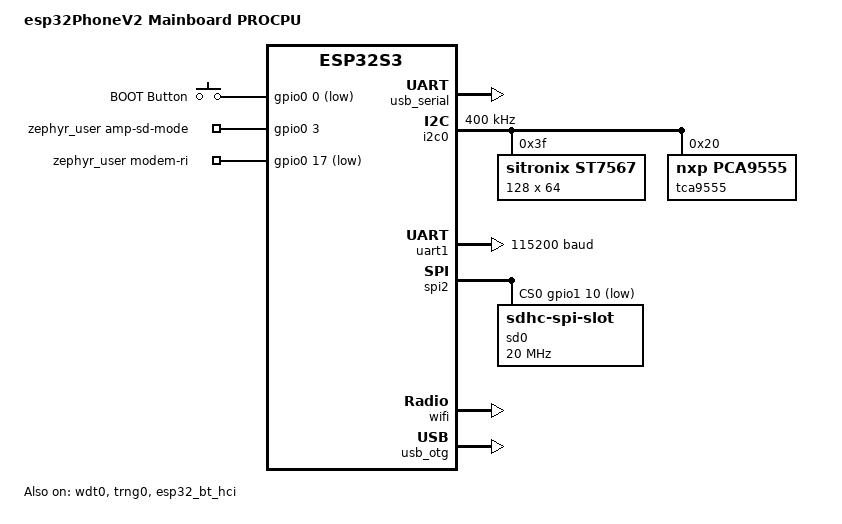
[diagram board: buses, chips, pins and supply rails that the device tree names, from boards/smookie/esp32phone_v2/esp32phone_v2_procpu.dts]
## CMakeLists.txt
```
cmake_minimum_required(VERSION 3.20.0)

# The custom board lives in this repo: app/boards/smookie/esp32phone_v2
set(BOARD_ROOT ${CMAKE_CURRENT_SOURCE_DIR})

find_package(Zephyr REQUIRED HINTS $ENV{ZEPHYR_BASE})
project(esp32phone_v2_fw LANGUAGES C)

target_include_directories(app PRIVATE include)
target_sources(app PRIVATE
  src/main.c
  src/core/channels.c
  src/core/registry.c
  src/core/framework.c
  src/services/input_svc.c
  src/ui/status_bar.c
  src/ui/softkey_bar.c
  src/ui/widgets.c
  src/apps/home.c
  src/apps/settings.c
)

zephyr_linker_sources(SECTIONS sections-rom.ld)
```

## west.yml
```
manifest:
  remotes:
    - name: zephyrproject-rtos
      url-base: https://github.com/zephyrproject-rtos

  projects:
    - name: zephyr
      remote: zephyrproject-rtos
      revision: v4.4.1
      import:
        # Keep the workspace lean: only the modules this project needs.
        # Extend the allowlist (and `west update`) when a milestone needs more
        # (e.g. mbedtls for TLS, mcuboot for OTA).
        name-allowlist:
          - hal_espressif
          - lvgl
          - littlefs
          - fatfs

  self:
    path: app
```

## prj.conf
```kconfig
# --- M1: UI frame — input service, zbus, screen stack, home + settings ---

CONFIG_LOG=y
CONFIG_LOG_MODE_DEFERRED=y

# Shell over the USB-Serial-JTAG console (UART0 pins are taken by SD-SPI)
CONFIG_SHELL=y
CONFIG_SHELL_BACKEND_SERIAL=y

CONFIG_GPIO=y
CONFIG_I2C=y
CONFIG_I2C_SHELL=y

# Cross-module IPC
CONFIG_ZBUS=y

# Display + LVGL (ST7567 over I2C, 1-bit)
CONFIG_DISPLAY=y
CONFIG_LVGL=y
CONFIG_LV_COLOR_DEPTH_1=y
CONFIG_LV_Z_MEM_POOL_SIZE=16384
CONFIG_LV_USE_THEME_MONO=y
CONFIG_LV_FONT_UNSCII_8=y
CONFIG_LV_FONT_DEFAULT_UNSCII_8=y

CONFIG_MAIN_STACK_SIZE=8192
CONFIG_THREAD_NAME=y
```

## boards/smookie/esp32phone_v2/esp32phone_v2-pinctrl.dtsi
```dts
/*
 * esp32PhoneV2 Mainboard (PCB4) pin assignments.
 * Verified against HARDWARE/pcb/Mainboard_schematics.pdf (2026-01-02).
 */

#include <zephyr/dt-bindings/pinctrl/esp-pinctrl-common.h>
#include <zephyr/dt-bindings/pinctrl/esp32s3-pinctrl.h>
#include <zephyr/dt-bindings/pinctrl/esp32s3-gpio-sigmap.h>

&pinctrl {
	/* Shared bus: ST7567 LCD + TCA9555 keypad expander (EXT_PIN1/2 jumpers) */
	i2c0_default: i2c0_default {
		group1 {
			pinmux = <I2C0_SDA_GPIO9>,
				 <I2C0_SCL_GPIO10>;
			bias-pull-up;
			drive-open-drain;
			output-high;
		};
	};

	/* A7680C modem behind TXS0108E level shifter */
	uart1_default: uart1_default {
		group1 {
			pinmux = <UART1_TX_GPIO15>;
			output-high;
		};

		group2 {
			pinmux = <UART1_RX_GPIO16>;
			bias-pull-up;
		};
	};

	/*
	 * One full-duplex bus: MAX98357A (out) and PCM1809 (in) share
	 * BCLK/LRCLK. No MCLK line on this board.
	 */
	i2s0_default: i2s0_default {
		group1 {
			pinmux = <I2S0_O_WS_GPIO4>,
				 <I2S0_O_BCK_GPIO5>,
				 <I2S0_O_SD_GPIO6>,
				 <I2S0_I_SD_GPIO7>;
		};
	};

	/* micro-SD slot (TF1), SPI mode. Note: MOSI/MISO sit on the UART0
	 * pins (GPIO43/44), which is why the console is USB-Serial-JTAG. */
	spim2_default: spim2_default {
		group1 {
			pinmux = <SPIM2_MISO_GPIO44>,
				 <SPIM2_SCLK_GPIO2>;
		};

		group2 {
			pinmux = <SPIM2_MOSI_GPIO43>;
			output-low;
		};
	};
};
```

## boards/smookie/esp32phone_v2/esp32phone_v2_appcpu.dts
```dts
/*
 * esp32PhoneV2 Mainboard (PCB4) — APPCPU
 */
/dts-v1/;

#include <espressif/esp32s3/esp32s3_wroom_n16r8.dtsi>
#include <espressif/partitions_0x0_amp_16M.dtsi>
#include "esp32phone_v2-pinctrl.dtsi"

/ {
	model = "esp32PhoneV2 Mainboard APPCPU";
	compatible = "espressif,esp32s3";

	chosen {
		zephyr,sram = &sram1;
		zephyr,ipc_shm = &shm0;
		zephyr,ipc = &ipm0;
		zephyr,flash = &flash0;
		zephyr,code-partition = &slot0_appcpu_partition;
	};
};

&trng0 {
	status = "okay";
};

&ipm0 {
	status = "okay";
};
```

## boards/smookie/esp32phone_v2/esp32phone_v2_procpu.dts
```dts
/*
 * esp32PhoneV2 Mainboard (PCB4) — PROCPU
 *
 * GPIO map (from Mainboard_schematics.pdf):
 *   IO0  BOOT button          IO15 modem TX
 *   IO2  SD SCK               IO16 modem RX
 *   IO3  amp SD_MODE          IO17 modem RI
 *   IO4  I2S LRC/FSYNC        IO18 modem PWRKEY
 *   IO5  I2S BCLK             IO19/20 USB D-/D+
 *   IO6  DAC DIN              IO42 SD CS
 *   IO7  ADC SDOUT            IO43 SD MOSI
 *   IO8  modem RST            IO44 SD MISO
 *   IO9/10 I2C SDA/SCL
 *   Spare (EXT header): IO1, IO11-14, IO21, IO38-41, IO47, IO48
 */
/dts-v1/;

#include <espressif/esp32s3/esp32s3_wroom_n16r8.dtsi>
#include <zephyr/dt-bindings/input/input-event-codes.h>
#include <espressif/partitions_0x0_amp_16M.dtsi>
#include "esp32phone_v2-pinctrl.dtsi"

/ {
	model = "esp32PhoneV2 Mainboard PROCPU";
	compatible = "espressif,esp32s3";

	aliases {
		i2c-0 = &i2c0;
		watchdog0 = &wdt0;
		sw0 = &button0;
		sdhc0 = &sd0;
	};

	chosen {
		zephyr,sram = &sram1;
		zephyr,console = &usb_serial;
		zephyr,shell-uart = &usb_serial;
		zephyr,flash = &flash0;
		zephyr,code-partition = &slot0_partition;
		zephyr,bt-hci = &esp32_bt_hci;
		zephyr,display = &st7567;
	};

	buttons {
		compatible = "gpio-keys";

		button0: button_0 {
			gpios = <&gpio0 0 (GPIO_PULL_UP | GPIO_ACTIVE_LOW)>;
			label = "BOOT Button";
			zephyr,code = <INPUT_KEY_0>;
		};
	};

	/* Board control lines owned by firmware services */
	zephyr_user: zephyr,user {
		amp-sd-mode-gpios = <&gpio0 3 GPIO_ACTIVE_HIGH>;  /* MAX98357A enable */
		modem-ri-gpios = <&gpio0 17 GPIO_ACTIVE_LOW>;     /* A7680C ring indicator */
	};
};

&usb_serial {
	status = "okay";
};

&gpio0 {
	status = "okay";
};

&gpio1 {
	status = "okay";
};

&i2c0 {
	status = "okay";
	clock-frequency = <I2C_BITRATE_FAST>;
	pinctrl-0 = <&i2c0_default>;
	pinctrl-names = "default";

	/*
	 * Matches the known-good U8g2 init (ENH_DG128064I + U8G2_R2):
	 * SEG normal + COM flipped = that panel's 180° orientation,
	 * offset 0, RR=3, 1/9 bias. Contrast (EV 50) is set at runtime —
	 * ST7567_DEFAULT_CONTRAST is capped at 15.
	 */
	st7567: st7567@3f {
		compatible = "sitronix,st7567";
		reg = <0x3f>;
		width = <128>;
		height = <64>;
		column-offset = <0>;
		line-offset = <0>;
		regulation-ratio = <3>;
		com-invdir;
	};

	tca9555: tca9555@20 {
		compatible = "nxp,pca9555";
		reg = <0x20>;
		gpio-controller;
		#gpio-cells = <2>;
		ngpios = <16>;
	};
};

/* A7680C LTE Cat-1 modem (keypad-side of TXS0108E level shifter) */
&uart1 {
	status = "okay";
	current-speed = <115200>;
	pinctrl-0 = <&uart1_default>;
	pinctrl-names = "default";

	modem: modem {
		compatible = "simcom,a76xx";
		mdm-power-gpios = <&gpio0 18 GPIO_ACTIVE_HIGH>;
		mdm-reset-gpios = <&gpio0 8 GPIO_ACTIVE_HIGH>;
		status = "disabled";	/* enabled in M2 (telephony) */
	};
};

/* Audio bus — enabled in M3 (media) */
&i2s0 {
	pinctrl-0 = <&i2s0_default>;
	pinctrl-names = "default";
};

/* micro-SD (TF1), SPI mode */
&spi2 {
	#address-cells = <1>;
	#size-cells = <0>;
	status = "okay";
	pinctrl-0 = <&spim2_default>;
	pinctrl-names = "default";
	/* GPIO CS, not hardware CSEL: SD init needs frames with CS deasserted */
	cs-gpios = <&gpio1 10 GPIO_ACTIVE_LOW>;

	sd0: sdhc@0 {
		compatible = "zephyr,sdhc-spi-slot";
		reg = <0>;
		spi-max-frequency = <20000000>;
		status = "okay";

		mmc {
			compatible = "zephyr,sdmmc-disk";
			disk-name = "SD";
			status = "okay";
		};
	};
};

&timer0 {
	status = "disabled";
};

&timer1 {
	status = "disabled";
};

&timer2 {
	status = "disabled";
};

&timer3 {
	status = "disabled";
};

&wdt0 {
	status = "okay";
};

&trng0 {
	status = "okay";
};

&esp32_bt_hci {
	status = "okay";
};

&wifi {
	status = "okay";
};

zephyr_udc0: &usb_otg {
	status = "okay";
};
```

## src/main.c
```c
/*
 * esp32PhoneV2 — Zephyr firmware
 * Boot: display up → framework (UI shell + home app) → event loop.
 * The main thread becomes the UI thread; services run on their own threads.
 */

#include <zephyr/kernel.h>
#include <zephyr/version.h>
#include <zephyr/device.h>
#include <zephyr/drivers/display.h>
#include <zephyr/logging/log.h>
#include <phone/ui.h>
#include "core/framework.h"

LOG_MODULE_REGISTER(phone, LOG_LEVEL_INF);

int main(void)
{
	LOG_INF("esp32PhoneV2 booting (Zephyr " KERNEL_VERSION_STRING ")");

	const struct device *display = DEVICE_DT_GET_OR_NULL(DT_CHOSEN(zephyr_display));

	if (display == NULL || !device_is_ready(display)) {
		LOG_WRN("display not ready — running headless (shell still available)");
		return 0;
	}

	display_set_contrast(display, PHONE_DISPLAY_DEFAULT_CONTRAST);

	framework_init();

	display_blanking_off(display);

	framework_run();	/* never returns */
	return 0;
}
```
